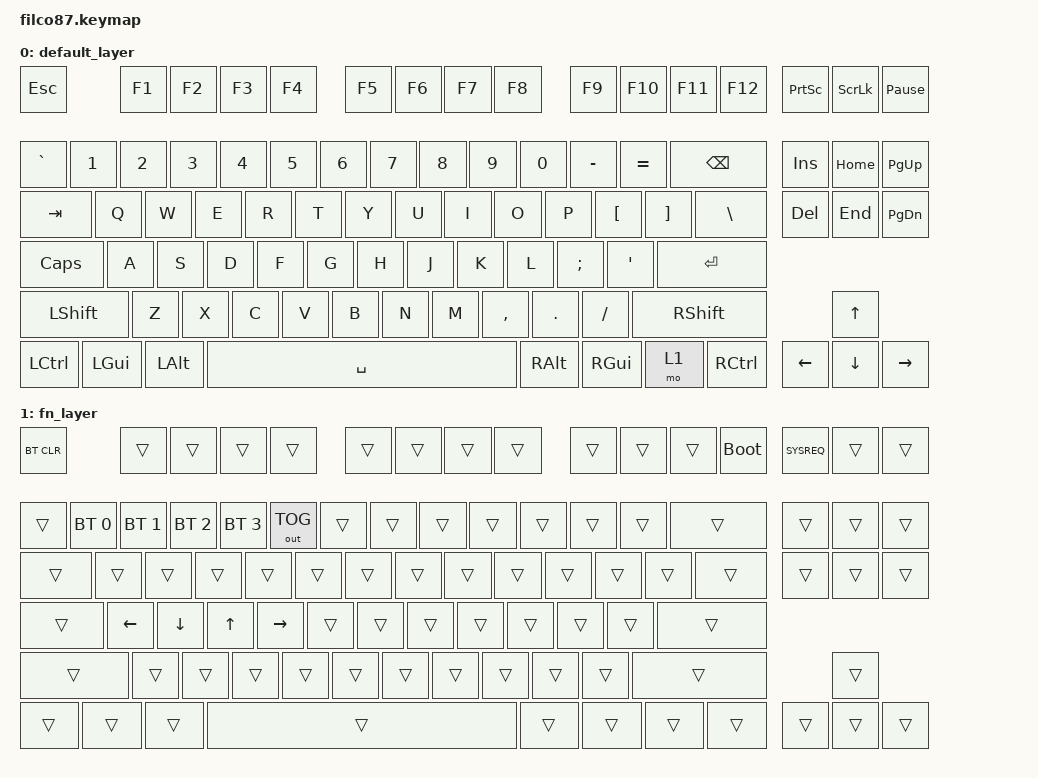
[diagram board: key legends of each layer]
// This file was generated from a template. Edit it to match your keyboard.
// See https://zmk.dev/docs/development/hardware-integration/new-shield for more instructions.

#include <behaviors.dtsi>
#include <dt-bindings/zmk/keys.h>
#include <dt-bindings/zmk/bt.h>
#include <dt-bindings/zmk/outputs.h>
#include <dt-bindings/zmk/backlight.h>

/ {
    // Define a default keymap here.
    // See https://zmk.dev/docs/development/hardware-integration/new-shield#default-keymap.
    keymap {
        compatible = "zmk,keymap";

        default_layer {
            display-name = "default_layer";
            // -----------------------------------------------------------------------------------------------------------------
            // | ESC   | F1  | F2  | F3  |  F4     | F5  | F6  | F7  | F8      | F9  | F10 | F11 | F12  | Ps/SR | ScLk | Pa/Br |
            // | GRAVE |  1  |  2  |  3  |  4  |  5  |  6  |  7  |  8  |  9  |  0  |  -  |  =  |   BSPC |  Ins  | Home | Pg Up |
            // | TAB  |  Q  |  W  |  E  |  R  |  T  |  Y  |  U  |  I  |  O  |  P  |  [  |  ]  |    \    |  Del  | End  | Pg Dn |
            // | CAPS  |  A  |  S  |  D  |  F  |  G  |  H  |  J  |  K  |  L  |  ;  |  '  |     ENTER    |                      |
            // |  SHIFT  |  Z  |  X  |  C  |  V  |  B  |  N  |  M  |  ,  |  .  |  /  |      SHIFT       |          Up          |
            // |  CTL  |  WIN  |  ALT  |            SPACE               | ALT | MO(1) |  WIN  | CTRL    |  Left | Down | Right |
            // -----------------------------------------------------------------------------------------------------------------
            bindings = <
            &kp ESC          &kp F1 &kp F2 &kp F3 &kp F4     &kp F5 &kp F6 &kp F7 &kp F8       &kp F9 &kp F10 &kp F11 &kp F12  &kp PSCRN &kp SLCK &kp PAUSE_BREAK
            &kp GRAVE &kp N1 &kp N2 &kp N3 &kp N4 &kp N5 &kp N6 &kp N7 &kp   N8  &kp  N9 &kp  N0  &kp MINUS &kp EQUAL &kp BSPC &kp  INS  &kp HOME &kp PG_UP
            &kp TAB  &kp Q  &kp W  &kp E  &kp R  &kp T  &kp Y  &kp U  &kp   I   &kp  O  &kp   P  &kp LBKT &kp RBKT  &kp BSLH   &kp  DEL  &kp END  &kp PG_DN
            &kp CLCK  &kp A  &kp S  &kp D  &kp F  &kp G  &kp H  &kp J  &kp   K   &kp  L  &kp SEMI &kp SQT           &kp RET
            &kp LSHFT  &kp Z  &kp X  &kp C  &kp V  &kp B  &kp N  &kp M  &kp COMMA &kp DOT &kp FSLH           &kp RSHFT                  &kp UP
            &kp LCTRL &kp LGUI &kp LALT               &kp SPACE                 &kp  RALT  &kp  RGUI &mo 1  &kp  RCTRL         &kp LEFT  &kp DOWN &kp RIGHT
            >;
        };

        fn_layer {
            display-name = "fn_layer";
            bindings = <
            &bt BT_CLR &trans &trans &trans &trans &trans &trans &trans &trans &trans &trans &trans &bootloader &kp SYSREQ &trans &trans 
            &trans &bt BT_SEL 0 &bt BT_SEL 1 &bt BT_SEL 2 &bt BT_SEL 3 &out OUT_TOG &trans &trans &trans &trans &trans &trans &trans &trans &trans &trans &trans 
            &trans &trans &trans &trans &trans &trans &trans &trans &trans &trans &trans &trans &trans &trans &trans &trans &trans 
            &trans &kp LEFT &kp DOWN &kp UP &kp RIGHT &trans &trans &trans &trans &trans &trans &trans &trans 
            &trans &trans &trans &trans &trans &trans &trans &trans &trans &trans &trans &trans &trans 
            &trans &trans &trans &trans &trans &trans &trans &trans &trans &trans &trans 
            >;
        };
    };
};
